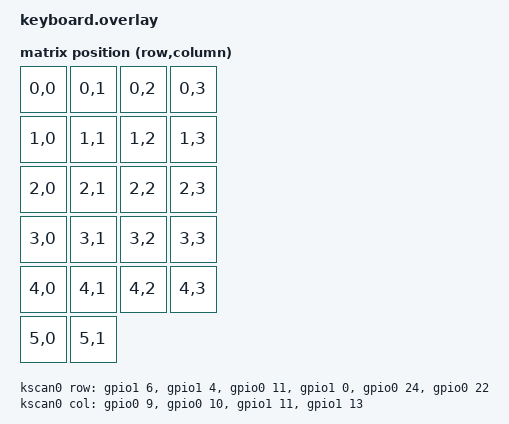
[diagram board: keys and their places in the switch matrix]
/*
 * Copyright (c) 2020 The ZMK Contributors
 *
 * SPDX-License-Identifier: MIT
 */

#include <dt-bindings/zmk/matrix_transform.h>

/ {
	chosen {
		zmk,kscan = &kscan0;
		zmk,matrix_transform = &default_transform;
	};

	default_transform: keymap_transform_0 {
		compatible = "zmk,matrix-transform";
		columns = <4>;
		rows = <6>;
        map = <
        RC(0,0) RC(0,1) RC(0,2) RC(0,3)
        RC(1,0) RC(1,1) RC(1,2) RC(1,3)
        RC(2,0) RC(2,1) RC(2,2) RC(2,3)
        RC(3,0) RC(3,1) RC(3,2) RC(3,3)
        RC(4,0) RC(4,1) RC(4,2) RC(4,3)
		RC(5,0) RC(5,1)
		>;
	};
	kscan0: kscan {
		compatible = "zmk,kscan-gpio-matrix";
        wakeup-source;

        diode-direction = "col2row";
		col-gpios
			= <&gpio0 9 GPIO_ACTIVE_HIGH>
			, <&gpio0 10 GPIO_ACTIVE_HIGH>
			, <&gpio1 11 GPIO_ACTIVE_HIGH>
			, <&gpio1 13 GPIO_ACTIVE_HIGH>
			;
		row-gpios
			= <&gpio1 6 (GPIO_ACTIVE_HIGH | GPIO_PULL_DOWN)>
			, <&gpio1 4 (GPIO_ACTIVE_HIGH | GPIO_PULL_DOWN)>
			, <&gpio0 11 (GPIO_ACTIVE_HIGH | GPIO_PULL_DOWN)>
			, <&gpio1 0 (GPIO_ACTIVE_HIGH | GPIO_PULL_DOWN)>
			, <&gpio0 24 (GPIO_ACTIVE_HIGH | GPIO_PULL_DOWN)>
			, <&gpio0 22 (GPIO_ACTIVE_HIGH | GPIO_PULL_DOWN)>
			;
	};
};
